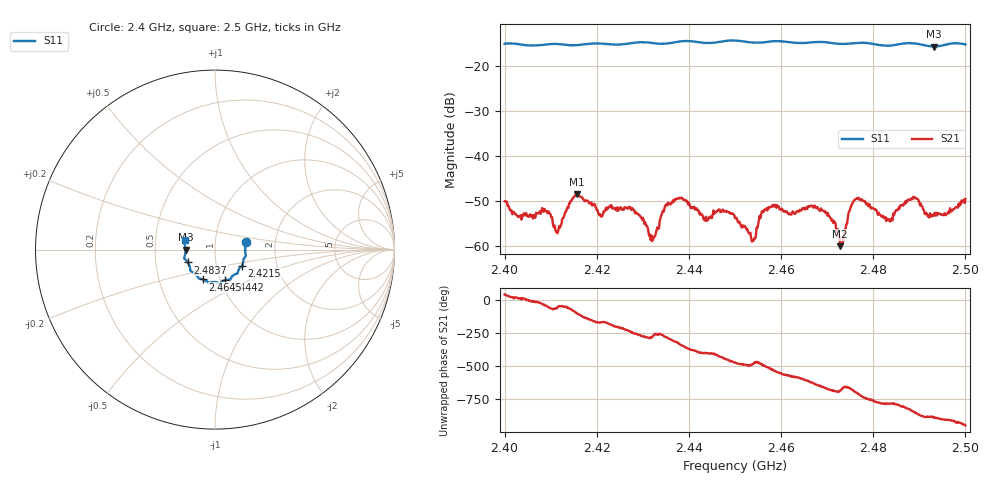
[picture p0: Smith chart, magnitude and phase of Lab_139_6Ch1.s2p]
# Hz S RI R 50
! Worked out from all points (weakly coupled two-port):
!   601 points, 2.4 GHz to 2.5 GHz, reference 50 ohm
!   highest |S21| = -48.47 dB at 2.4157 GHz (marker M1); lowest = -60.1 dB at 2.4728 GHz (marker M2)
!   lowest |S11| = -15.7 dB at 2.4932 GHz (marker M3), VSWR 1.39, Z = 35.9 - j0.0476 ohm
!   |S11| at or under -10 dB: start of sweep to end of sweep
!   S12 and S22 are empty: the file has one direction only
!   S11 on the Smith chart (normalised r, x): 2.4 GHz: 1.41, +0.12; 2.4215 GHz: 1.33, -0.25; 2.4442 GHz: 1.05, -0.37; 2.4645 GHz: 0.83, -0.29; 2.4837 GHz: 0.73, -0.11; 2.5 GHz: 0.71, +0.07
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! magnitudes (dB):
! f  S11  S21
! 2.4 GHz  -15.1  -50.1
! 2.4115 GHz  -15.2  -57.2
! 2.4157 GHz  -15.4  -48.5
! 2.4167 GHz  -15.3  -49.2
! 2.4215 GHz  -15.1  -52.3
! 2.4275 GHz  -15.0  -52.1
! 2.4318 GHz  -14.9  -57.6
! 2.4333 GHz  -15.1  -56.2
! 2.438 GHz  -14.6  -49.5
! 2.4442 GHz  -15.0  -54.2
! 2.45 GHz  -14.4  -53.9
! 2.454 GHz  -14.9  -58.9
! 2.4563 GHz  -14.8  -52.0
! 2.4645 GHz  -15.0  -52.0
! 2.4667 GHz  -14.8  -51.1
! 2.4728 GHz  -15.1  -60.1
! 2.4763 GHz  -14.9  -49.5
! 2.4833 GHz  -15.5  -54.3
! 2.4837 GHz  -15.5  -54.6
! 2.4888 GHz  -15.0  -49.1
! 2.4932 GHz  -15.7  -53.0
! 2.5 GHz  -15.2  -49.6
